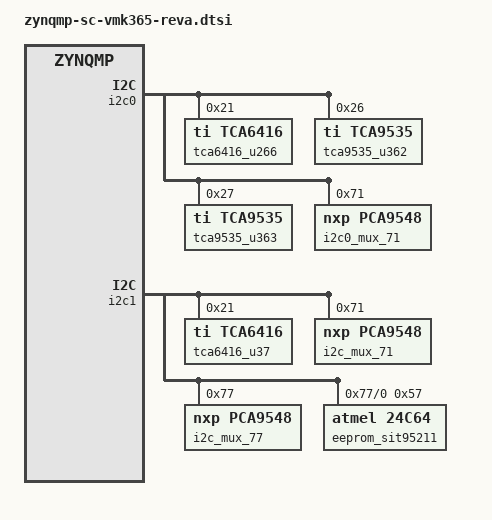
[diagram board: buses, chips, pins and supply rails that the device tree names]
// SPDX-License-Identifier: GPL-2.0
/*
 * dts file for SC on VMK365 revA (k24)
 *
 * (C) Copyright 2026, Advanced Micro Devices, Inc.
 *
 * Michal Simek <michal.simek@amd.com>
 */

&{/} {
	compatible = "xlnx,zynqmp-sc-vmk365-revA",
		     "xlnx,zynqmp-sc-vmk365", "xlnx,zynqmp";
	model = "ZynqMP SC VMK365 revA";
};

&i2c0 { /* FMC/J13  - MIO66/67 - board_i2c0 */
	#address-cells = <1>;
	#size-cells = <0>;

	tca6416_u266: gpio@21 { /* u266 */
		compatible = "ti,tca6416";
		reg = <0x21>;
		gpio-controller; /* interrupt on MIO69 */
		#gpio-cells = <2>;
		gpio-line-names = "QSFP_MODSELL", "QSFP_RESETL", "QSFP_MODPRSL", "QSFP_INTL", /* 0 - 3 */
				  "QSFP_LPMODE", "", "", "", /* 4 - 7 */
				  "", "", "", "", /* 10 - 13 */
				  "", "", "", ""; /* 14 - 17 */
	};

	tca9535_u362: gpio@26 { /* u362 */
		compatible = "ti,tca9535";
		reg = <0x26>;
		gpio-controller; /* interrupt on MIO69 */
		#gpio-cells = <2>;
		gpio-line-names = "SFP28_P0_TX_FAULT", "SFP28_P0_RX_LOS", "SFP28_P0_MOD_ABS", "SFP28_P0_TX_DISABLE", /* 0 - 3 */
				  "SFP28_P0_RS0_R", "SFP28_P0_RS1_R", "", "", /* 4 - 7 */
				  "SFP28_P1_TX_FAULT", "SFP28_P1_RX_LOS", "SFP28_P1_MOD_ABS", "SFP28_P1_TX_DISABLE", /* 10 - 13 */
				  "SFP28_P1_RS0_R", "SFP28_P1_RS1_R", "", ""; /* 14 - 17 */
	};

	tca9535_u363: gpio@27 { /* u363 */
		compatible = "ti,tca9535";
		reg = <0x27>;
		gpio-controller; /* interrupt on MIO69 */
		#gpio-cells = <2>;
		gpio-line-names = "SFP28_P2_TX_FAULT", "SFP28_P2_RX_LOS", "SFP28_P2_MOD_ABS", "SFP28_P2_TX_DISABLE", /* 0 - 3 */
				  "SFP28_P2_RS0_R", "SFP28_P2_RS1_R", "", "", /* 4 - 7 */
				  "SFP28_P3_TX_FAULT", "SFP28_P3_RX_LOS", "SFP28_P3_MOD_ABS", "SFP28_P3_TX_DISABLE", /* 10 - 13 */
				  "SFP28_P3_RS0_R", "SFP28_P3_RS1_R", "", ""; /* 14 - 17 */
	};

	i2c0_mux_71: i2c-mux@71 { /* u411 */
		compatible = "nxp,pca9548";
		#address-cells = <1>;
		#size-cells = <0>;
		reg = <0x71>;
		i2c-mux-idle-disconnect;
		qsfp: i2c@0 {
			#address-cells = <1>;
			#size-cells = <0>;
			reg = <0>;
		};
		sfp28_p0: i2c@1 {
			#address-cells = <1>;
			#size-cells = <0>;
			reg = <1>;
		};
		sfp28_p1: i2c@2 {
			#address-cells = <1>;
			#size-cells = <0>;
			reg = <2>;
		};
		sfp28_p2: i2c@3 {
			#address-cells = <1>;
			#size-cells = <0>;
			reg = <3>;
		};
		sfp28_p3: i2c@4 {
			#address-cells = <1>;
			#size-cells = <0>;
			reg = <4>;
		};
		/* 5 - 6 unused */
	};
};

&i2c1 { /* MIO24/25 - sysctrl_i2c1 - board_i2c1 */
	#address-cells = <1>;
	#size-cells = <0>;

	/* slg7xl46528: gpio@10/11 u169 - reset logic */
	/* m24c128 - eeprom u35 - board identification */
	/* There is no arbitrator available */

	tca6416_u37: gpio@21 { /* u37 */
		compatible = "ti,tca6416";
		reg = <0x21>;
		gpio-controller; /* interrupt on MIO69 */
		#gpio-cells = <2>;
		gpio-line-names = "USB2_USB3_MUX_SEL", "PMBUS5_INA_ALERT", "PMBUS4_INA_ALERT", "PMBUS3_INA_ALERT", /* 0 - 3 */
				  "PMBUS2_INA_ALERT", "PMBUS1_INA_ALERT", "PMBUS1_ALERT", "", /* 4 - 7 */
				  "USB_FLEX_STATUS", "USB_P1_HOST_DET", "", "", /* 10 - 13 */
				  "", "", "", ""; /* 14 - 17 */
	};

	i2c_mux_71: i2c-mux@71 { /* u162 */
		compatible = "nxp,pca9548";
		#address-cells = <1>;
		#size-cells = <0>;
		reg = <0x71>;
		i2c-mux-idle-disconnect;
		pmbus1: i2c@0 {
			#address-cells = <1>;
			#size-cells = <0>;
			reg = <0>;
			/* pmbus1 */
			/* J1 connector */
			/* u176 mpq2285 0x1d */
			/* u219 mpq72963 0x22 */
			/* u220 mpq72963 0x23 */
			/* u320 mpq70170 0x24 */
			/* u328 mpq70170 0x25 */
		};
		pmbus2: i2c@1 {
			#address-cells = <1>;
			#size-cells = <0>;
			reg = <1>;
			/* pmbus2 */
			/* J166 connector */
			/* u205 mpq2285 0x1 */
			/* u189 mpq2285 0x3 */
			/* u190 mpq2283 0x4 */
		};
		pmbus1_ina: i2c@2 {
			#address-cells = <1>;
			#size-cells = <0>;
			reg = <2>;
			/* u282 ina745a 0x40 vr_0v8_vcc_fpd_bus */
			/* u318 ina745a 0x41 vr_0v8_vcc_soc_io_bus */
			/* u319 ina745a 0x44 vr_0v88_vcc_lpd_bus */
			/* u324 ina700a 0x45 vr_1v5_vccaux_lpd_bus */
			/* u321 ina700a 0x46 vr_1v8_vcco_50x_bus */
			/* u322 ina700a 0x47 vr_0v8_vcc_mipi_507_bus */
			/* u64 ina745a 0x48 vr_0v8_vccint_bus1 */
			/* u275 ina745a 0x49 vr_0v8_vccint_bus2 */
			/* u276 ina745a 0x4a vr_0v8_vccint_bus3 */
		};
		pmbus2_ina: i2c@3 {
			#address-cells = <1>;
			#size-cells = <0>;
			reg = <3>;
			/* u327 ina700a 0x44 vr_1v8_vccaio_mipi_507 */
			/* u329 ina700a 0x45 vr_3v3_vccio_usb2_505 */
			/* u288 ina700a 0x46 vr_1v5_vccaux */
			/* u416 ina700a 0x47 vr_0v8_vcc_paux_505 */
		};
		pmbus3_ina: i2c@4 {
			#address-cells = <1>;
			#size-cells = <0>;
			reg = <4>;
			/* u290 ina700a 0x44 vr_3v3_vcco_4xx */
			/* u291 ina700a 0x45 vr_1v5_gtyp_avccaux */
			/* u292 ina700a 0x46 vr_1v2_gtyp_avtt */
			/* u295 ina700a 0x47 vr_1v0_vcco_7xx_lp5 */
		};
		pmbus4_ina: i2c@5 {
			#address-cells = <1>;
			#size-cells = <0>;
			reg = <5>;
			/* u293 ina700a 0x44 vr_0v8_vcc_mmd */
			/* u331 ina700a 0x45 vr_0v8_vcc_ram */
			/* u330 ina700a 0x46 vr_0v92_gtyp_avcc */
			/* u414 ina700a 0x47 vr_1v8_vccio_paux_505 */
		};
		pmbus5_ina: i2c@6 {
			#address-cells = <1>;
			#size-cells = <0>;
			reg = <6>;
			/* u325 ina700a 0x44 vr_0v92_gtyp_mmi_avcc */
			/* u326 ina700a 0x45 vr_1v5_gtyp_mmi_avccaux */
			/* u323 ina700a 0x46 vr_1v2_gtyp_mmi_avtt */
			/* u415 ina700a 0x47 vr_1v8_vccio_usb3_505 */
		};
		pmbus_seq: i2c@7 {
			#address-cells = <1>;
			#size-cells = <0>;
			reg = <7>;
			/* u338 ucd90320 0x73 */
		};
	};

	i2c_mux_77: i2c-mux@77 { /* u253 */
		compatible = "nxp,pca9548";
		#address-cells = <1>;
		#size-cells = <0>;
		reg = <0x77>;
		i2c-mux-idle-disconnect;
		clkgen_sit95211: i2c@0 {
			#address-cells = <1>;
			#size-cells = <0>;
			reg = <0>;
			/* clock-generator@0x69 - u101 */
			eeprom_u165: eeprom@57 { /* u166 - required by spec - also at address 0x5F */
				compatible = "atmel,24c64";
				label = "eeprom_sit95211";
				reg = <0x57>;
			};
		};
		usbdp: i2c@2 {
			#address-cells = <1>;
			#size-cells = <0>;
			reg = <2>;
			/* u272 tps66993 */
		};
		i2c_10g_aqr: i2c@3 {
			#address-cells = <1>;
			#size-cells = <0>;
			reg = <3>;
			/* u389 - aqr113c */
		};
		usb0_hub: i2c@4 {
			#address-cells = <1>;
			#size-cells = <0>;
			reg = <4>;
			/* u398 - DNP usb5734@74 */
		};
		/* 1, 5 - 7 not connected */
	};
};
